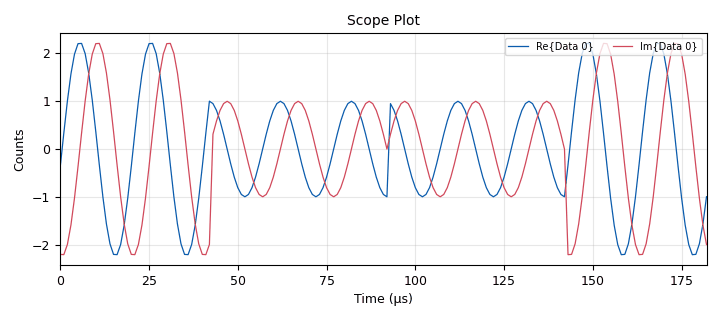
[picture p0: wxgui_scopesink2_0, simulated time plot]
<?xml version='1.0' encoding='utf-8'?>
<?grc format='1' created='3.7.9'?>
<flow_graph>
<block>
<key>options</key>
<param><key>id</key><value>top_block</value></param>
<param><key>category</key><value>Custom</value></param>
<param><key>generate_options</key><value>wx_gui</value></param>
</block>
<block>
<key>variable</key>
<param><key>id</key><value>samp_rate</value></param>
<param><key>value</key><value>1000000</value></param>
</block>
<block>
<key>analog_const_source_x</key>
<param><key>id</key><value>analog_const_source_x_0</value></param>
<param><key>const</key><value>1</value></param>
<param><key>type</key><value>complex</value></param>
</block>
<block>
<key>analog_sig_source_x</key>
<param><key>id</key><value>analog_sig_source_x_0</value></param>
<param><key>amp</key><value>1</value></param>
<param><key>freq</key><value>5000</value></param>
<param><key>offset</key><value>0</value></param>
<param><key>type</key><value>complex</value></param>
<param><key>samp_rate</key><value>samp_rate</value></param>
<param><key>waveform</key><value>analog.GR_SQR_WAVE</value></param>
</block>
<block>
<key>analog_sig_source_x</key>
<param><key>id</key><value>analog_sig_source_x_0_0</value></param>
<param><key>amp</key><value>1</value></param>
<param><key>freq</key><value>50000</value></param>
<param><key>offset</key><value>0</value></param>
<param><key>type</key><value>complex</value></param>
<param><key>samp_rate</key><value>samp_rate</value></param>
<param><key>waveform</key><value>analog.GR_COS_WAVE</value></param>
</block>
<block>
<key>analog_sig_source_x</key>
<param><key>id</key><value>analog_sig_source_x_0_0_0</value></param>
<param><key>amp</key><value>1</value></param>
<param><key>freq</key><value>50000</value></param>
<param><key>offset</key><value>0</value></param>
<param><key>type</key><value>complex</value></param>
<param><key>samp_rate</key><value>samp_rate</value></param>
<param><key>waveform</key><value>analog.GR_SIN_WAVE</value></param>
</block>
<block>
<key>blocks_add_xx</key>
<param><key>id</key><value>blocks_add_xx_0</value></param>
<param><key>type</key><value>complex</value></param>
</block>
<block>
<key>blocks_multiply_xx</key>
<param><key>id</key><value>blocks_multiply_xx_0</value></param>
<param><key>type</key><value>complex</value></param>
</block>
<block>
<key>blocks_multiply_xx</key>
<param><key>id</key><value>blocks_multiply_xx_0_0</value></param>
<param><key>type</key><value>complex</value></param>
</block>
<block>
<key>blocks_sub_xx</key>
<param><key>id</key><value>blocks_sub_xx_0</value></param>
<param><key>type</key><value>complex</value></param>
</block>
<block>
<key>wxgui_scopesink2</key>
<param><key>id</key><value>wxgui_scopesink2_0</value></param>
<param><key>ac_couple</key><value>True</value></param>
<param><key>num_inputs</key><value>1</value></param>
<param><key>samp_rate</key><value>samp_rate</value></param>
<param><key>t_scale</key><value>0</value></param>
<param><key>title</key><value>Scope Plot</value></param>
<param><key>trig_mode</key><value>wxgui.TRIG_MODE_AUTO</value></param>
<param><key>type</key><value>complex</value></param>
<param><key>v_offset</key><value>0</value></param>
<param><key>v_scale</key><value>0</value></param>
<param><key>xy_mode</key><value>False</value></param>
<param><key>y_axis_label</key><value>Counts</value></param>
</block>
<connection><source_block_id>analog_const_source_x_0</source_block_id><sink_block_id>blocks_sub_xx_0</sink_block_id><source_key>0</source_key><sink_key>1</sink_key></connection>
<connection><source_block_id>analog_sig_source_x_0</source_block_id><sink_block_id>blocks_multiply_xx_0</sink_block_id><source_key>0</source_key><sink_key>0</sink_key></connection>
<connection><source_block_id>analog_sig_source_x_0</source_block_id><sink_block_id>blocks_sub_xx_0</sink_block_id><source_key>0</source_key><sink_key>0</sink_key></connection>
<connection><source_block_id>analog_sig_source_x_0_0</source_block_id><sink_block_id>blocks_multiply_xx_0</sink_block_id><source_key>0</source_key><sink_key>1</sink_key></connection>
<connection><source_block_id>analog_sig_source_x_0_0_0</source_block_id><sink_block_id>blocks_multiply_xx_0_0</sink_block_id><source_key>0</source_key><sink_key>1</sink_key></connection>
<connection><source_block_id>blocks_add_xx_0</source_block_id><sink_block_id>wxgui_scopesink2_0</sink_block_id><source_key>0</source_key><sink_key>0</sink_key></connection>
<connection><source_block_id>blocks_multiply_xx_0</source_block_id><sink_block_id>blocks_add_xx_0</sink_block_id><source_key>0</source_key><sink_key>0</sink_key></connection>
<connection><source_block_id>blocks_multiply_xx_0_0</source_block_id><sink_block_id>blocks_add_xx_0</sink_block_id><source_key>0</source_key><sink_key>1</sink_key></connection>
<connection><source_block_id>blocks_sub_xx_0</source_block_id><sink_block_id>blocks_multiply_xx_0_0</sink_block_id><source_key>0</source_key><sink_key>0</sink_key></connection>
</flow_graph>
